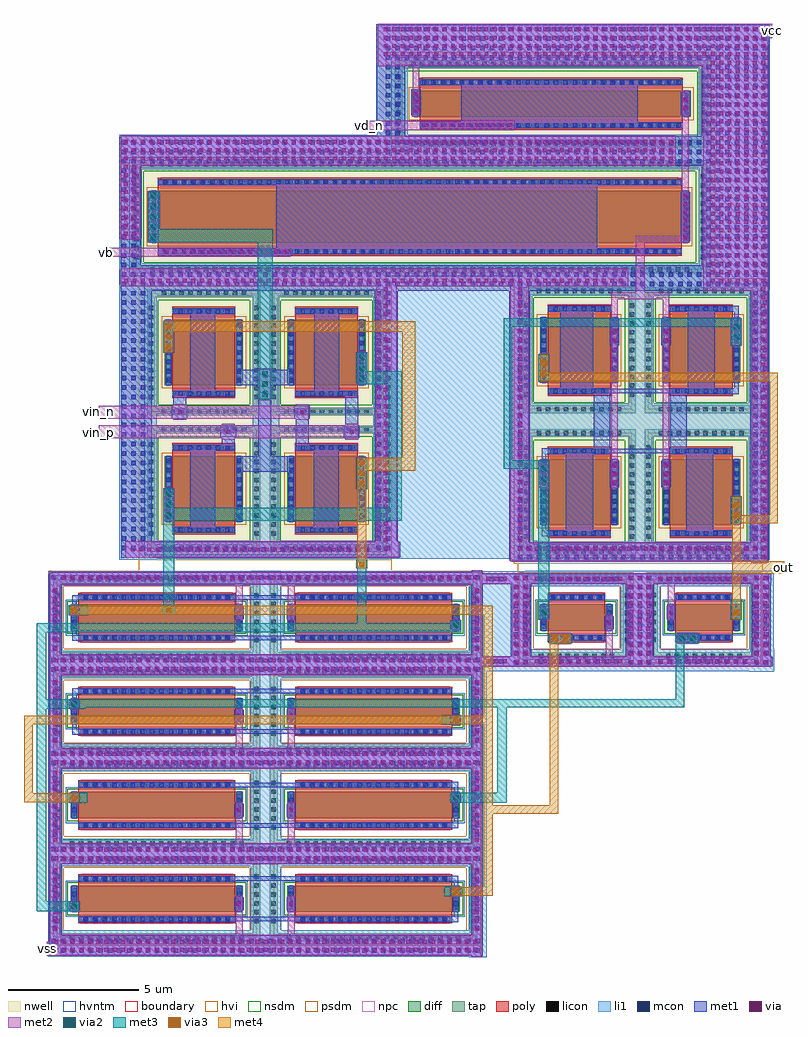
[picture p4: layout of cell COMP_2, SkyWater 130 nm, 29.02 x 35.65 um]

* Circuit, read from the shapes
.subckt COMP_2 out vb vcc vd_n vin_n vin_p vss
XM1 vss n1 n2 vss sky130_fd_pr__nfet_g5v0d10v5 w=1 l=6 m=2
XM2 vss n2 n1 vss sky130_fd_pr__nfet_g5v0d10v5 w=1 l=6 m=2
XM3 vss n2 n2 vss sky130_fd_pr__nfet_g5v0d10v5 w=1 l=6 m=2
XM4 vss n1 n1 vss sky130_fd_pr__nfet_g5v0d10v5 w=1 l=6 m=2
XM5 vss n1 n3 vss sky130_fd_pr__nfet_g5v0d10v5 w=1 l=2.2
XM6 out n2 vss vss sky130_fd_pr__nfet_g5v0d10v5 w=1 l=2.2
XM7 n4 vb n5 vcc sky130_fd_pr__pfet_g5v0d10v5 w=2 l=20
XM8 n5 vin_p n1 vcc sky130_fd_pr__pfet_g5v0d10v5 w=2.5 l=2.4 m=2
XM9 n5 vin_n n2 vcc sky130_fd_pr__pfet_g5v0d10v5 w=2.5 l=2.4 m=2
XM10 n4 vd_n vcc vcc sky130_fd_pr__pfet_g5v0d10v5 w=1 l=10.05
XM11 n4 n3 n3 vcc sky130_fd_pr__pfet_g5v0d10v5 w=2.5 l=2.4 m=2
XM12 n4 n3 out vcc sky130_fd_pr__pfet_g5v0d10v5 w=2.5 l=2.4 m=2
.ends

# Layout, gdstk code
from math import pi, radians
import gdstk
lib = gdstk.Library(unit=1e-6, precision=1e-09)
def R(c, l, rs):  # rectangles x0, y0, x1, y1
    for r in rs: c.add(gdstk.rectangle(r[:2], r[2:], *l))
def A(c, l, x, y, w, h, nx, ny, dx, dy):  # array of equal rectangles
    R(c, l, [(x+i*dx, y+j*dy, x+i*dx+w, y+j*dy+h) for i in range(nx) for j in range(ny)])
nwell = (64, 20)
diff = (65, 20)
tap = (65, 44)
poly = (66, 20)
licon = (66, 44)
li1 = (67, 20)
mcon = (67, 44)
met1 = (68, 20)
via = (68, 44)
met2 = (69, 20)
via2 = (69, 44)
met3 = (70, 20)
via3 = (70, 44)
met4 = (71, 20)
hvi = (75, 20)
nsdm = (93, 44)
psdm = (94, 20)
npc = (95, 20)
hvntm = (125, 20)
boundary = (235, 4)

sky130_fd_pr__nfet_g5v0d = lib.new_cell('sky130_fd_pr__nfet_g5v0d10v5_2VXPDW')
R(sky130_fd_pr__nfet_g5v0d, diff, [(-3.29,-0.5,3.29,0.5)])
R(sky130_fd_pr__nfet_g5v0d, tap, [(-3.96,-1.61,3.96,-1.32), (-3.96,-1.32,-3.67,1.32), (3.67,-1.32,3.96,1.32), (-3.96,1.32,3.96,1.61)])
R(sky130_fd_pr__nfet_g5v0d, poly, [(-3,-0.94,3,0.94)])
A(sky130_fd_pr__nfet_g5v0d, licon, -3.315, -1.55, 0.17, 0.17, 20, 2, 0.34, 2.93)
A(sky130_fd_pr__nfet_g5v0d, licon, -3.9, -0.935, 0.17, 0.17, 1, 6, 0, 0.34)
A(sky130_fd_pr__nfet_g5v0d, licon, 3.73, -0.935, 0.17, 0.17, 1, 6, 0, 0.34)
A(sky130_fd_pr__nfet_g5v0d, licon, -2.805, -0.86, 0.17, 0.17, 17, 2, 0.34, 1.55)
A(sky130_fd_pr__nfet_g5v0d, licon, -3.23, -0.425, 0.17, 0.17, 1, 3, 0, 0.34)
A(sky130_fd_pr__nfet_g5v0d, licon, 3.06, -0.425, 0.17, 0.17, 1, 3, 0, 0.34)
R(sky130_fd_pr__nfet_g5v0d, li1, [(-3.9,-1.55,3.9,-1.38), (-3.9,-1.38,-3.73,1.38), (3.73,-1.38,3.9,1.38), (-3,-0.86,3,-0.69), (-3.23,-0.52,-3.06,0.52), (3.06,-0.52,3.23,0.52), (-3,0.69,3,0.86), (-3.9,1.38,3.9,1.55)])
A(sky130_fd_pr__nfet_g5v0d, mcon, -2.785, -0.86, 0.17, 0.17, 16, 2, 0.36, 1.55)
R(sky130_fd_pr__nfet_g5v0d, mcon, [(-3.23,-0.265,-3.06,-0.095), (3.06,-0.265,3.23,-0.095), (-3.23,0.095,-3.06,0.265), (3.06,0.095,3.23,0.265)])
R(sky130_fd_pr__nfet_g5v0d, met1, [(-2.98,-0.89,2.98,-0.66), (-3.26,-0.5,-3.03,0.5), (3.03,-0.5,3.26,0.5), (-2.98,0.66,2.98,0.89)])
R(sky130_fd_pr__nfet_g5v0d, hvi, [(-4.145,-1.795,4.145,1.795)])
R(sky130_fd_pr__nfet_g5v0d, nsdm, [(-3.415,-0.625,3.415,0.625)])
R(sky130_fd_pr__nfet_g5v0d, psdm, [(-4.085,-1.735,4.085,-1.195), (-4.085,-1.195,-3.545,1.195), (3.545,-1.195,4.085,1.195), (-4.085,1.195,4.085,1.735)])
R(sky130_fd_pr__nfet_g5v0d, npc, [(-2.905,-0.96,2.905,-0.59), (-2.905,0.59,2.905,0.96)])
R(sky130_fd_pr__nfet_g5v0d, hvntm, [(-3.475,-0.685,3.475,0.685)])
R(sky130_fd_pr__nfet_g5v0d, boundary, [(-3.81,-1.46,3.81,1.46)])

c_sky130_fd_pr__nfet_g5v0d = lib.new_cell('sky130_fd_pr__nfet_g5v0d10v5_QW2VKE')
R(c_sky130_fd_pr__nfet_g5v0d, diff, [(-1.39,-0.5,1.39,0.5)])
R(c_sky130_fd_pr__nfet_g5v0d, tap, [(-2.06,-1.61,2.06,-1.32), (-2.06,-1.32,-1.77,1.32), (1.77,-1.32,2.06,1.32), (-2.06,1.32,2.06,1.61)])
R(c_sky130_fd_pr__nfet_g5v0d, poly, [(-1.1,-0.94,1.1,0.94)])
A(c_sky130_fd_pr__nfet_g5v0d, licon, -1.445, -1.55, 0.17, 0.17, 9, 2, 0.34, 2.93)
A(c_sky130_fd_pr__nfet_g5v0d, licon, -2, -0.935, 0.17, 0.17, 1, 6, 0, 0.34)
A(c_sky130_fd_pr__nfet_g5v0d, licon, 1.83, -0.935, 0.17, 0.17, 1, 6, 0, 0.34)
A(c_sky130_fd_pr__nfet_g5v0d, licon, -0.935, -0.86, 0.17, 0.17, 6, 2, 0.34, 1.55)
A(c_sky130_fd_pr__nfet_g5v0d, licon, -1.33, -0.425, 0.17, 0.17, 1, 3, 0, 0.34)
A(c_sky130_fd_pr__nfet_g5v0d, licon, 1.16, -0.425, 0.17, 0.17, 1, 3, 0, 0.34)
R(c_sky130_fd_pr__nfet_g5v0d, li1, [(-2,-1.55,2,-1.38), (-2,-1.38,-1.83,1.38), (1.83,-1.38,2,1.38), (-1.1,-0.86,1.1,-0.69), (-1.33,-0.52,-1.16,0.52), (1.16,-0.52,1.33,0.52), (-1.1,0.69,1.1,0.86), (-2,1.38,2,1.55)])
A(c_sky130_fd_pr__nfet_g5v0d, mcon, -0.985, -0.86, 0.17, 0.17, 6, 2, 0.36, 1.55)
R(c_sky130_fd_pr__nfet_g5v0d, mcon, [(-1.33,-0.265,-1.16,-0.095), (1.16,-0.265,1.33,-0.095), (-1.33,0.095,-1.16,0.265), (1.16,0.095,1.33,0.265)])
R(c_sky130_fd_pr__nfet_g5v0d, met1, [(-1.08,-0.89,1.08,-0.66), (-1.36,-0.5,-1.13,0.5), (1.13,-0.5,1.36,0.5), (-1.08,0.66,1.08,0.89)])
R(c_sky130_fd_pr__nfet_g5v0d, hvi, [(-2.245,-1.795,2.245,1.795)])
R(c_sky130_fd_pr__nfet_g5v0d, nsdm, [(-1.515,-0.625,1.515,0.625)])
R(c_sky130_fd_pr__nfet_g5v0d, psdm, [(-2.185,-1.735,2.185,-1.195), (-2.185,-1.195,-1.645,1.195), (1.645,-1.195,2.185,1.195), (-2.185,1.195,2.185,1.735)])
R(c_sky130_fd_pr__nfet_g5v0d, npc, [(-1.035,-0.96,1.035,-0.59), (-1.035,0.59,1.035,0.96)])
R(c_sky130_fd_pr__nfet_g5v0d, hvntm, [(-1.575,-0.685,1.575,0.685)])
R(c_sky130_fd_pr__nfet_g5v0d, boundary, [(-1.91,-1.46,1.91,1.46)])

sky130_fd_pr__pfet_g5v0d = lib.new_cell('sky130_fd_pr__pfet_g5v0d10v5_QVY3G8')
R(sky130_fd_pr__pfet_g5v0d, nwell, [(-2.49,-2.735,2.49,2.735)])
R(sky130_fd_pr__pfet_g5v0d, diff, [(-1.49,-1.25,1.49,1.25)])
R(sky130_fd_pr__pfet_g5v0d, tap, [(-2.16,-2.405,2.16,-2.115), (-2.16,-2.115,-1.87,2.115), (1.87,-2.115,2.16,2.115), (-2.16,2.115,2.16,2.405)])
R(sky130_fd_pr__pfet_g5v0d, poly, [(-1.2,-1.735,1.2,1.735)])
A(sky130_fd_pr__pfet_g5v0d, licon, -1.615, -2.345, 0.17, 0.17, 10, 2, 0.34, 4.52)
A(sky130_fd_pr__pfet_g5v0d, licon, -2.1, -1.785, 0.17, 0.17, 1, 11, 0, 0.34)
A(sky130_fd_pr__pfet_g5v0d, licon, 1.93, -1.785, 0.17, 0.17, 1, 11, 0, 0.34)
A(sky130_fd_pr__pfet_g5v0d, licon, -1.105, -1.655, 0.17, 0.17, 7, 2, 0.34, 3.14)
A(sky130_fd_pr__pfet_g5v0d, licon, -1.43, -1.105, 0.17, 0.17, 1, 7, 0, 0.34)
A(sky130_fd_pr__pfet_g5v0d, licon, 1.26, -1.105, 0.17, 0.17, 1, 7, 0, 0.34)
R(sky130_fd_pr__pfet_g5v0d, li1, [(-2.1,-2.345,2.1,-2.175), (-2.1,-2.175,-1.93,2.175), (1.93,-2.175,2.1,2.175), (-1.2,-1.655,1.2,-1.485), (-1.43,-1.27,-1.26,1.27), (1.26,-1.27,1.43,1.27), (-1.2,1.485,1.2,1.655), (-2.1,2.175,2.1,2.345)])
A(sky130_fd_pr__pfet_g5v0d, mcon, -0.985, -1.655, 0.17, 0.17, 6, 2, 0.36, 3.14)
A(sky130_fd_pr__pfet_g5v0d, mcon, -1.43, -1.165, 0.17, 0.17, 1, 7, 0, 0.36)
A(sky130_fd_pr__pfet_g5v0d, mcon, 1.26, -1.165, 0.17, 0.17, 1, 7, 0, 0.36)
R(sky130_fd_pr__pfet_g5v0d, met1, [(-1.18,-1.685,1.18,-1.455), (-1.46,-1.25,-1.23,1.25), (1.23,-1.25,1.46,1.25), (-1.18,1.455,1.18,1.685)])
R(sky130_fd_pr__pfet_g5v0d, hvi, [(-2.49,-2.735,2.49,2.735)])
R(sky130_fd_pr__pfet_g5v0d, nsdm, [(-2.285,-2.53,2.285,-1.99), (-2.285,-1.99,-1.745,1.99), (1.745,-1.99,2.285,1.99), (-2.285,1.99,2.285,2.53)])
R(sky130_fd_pr__pfet_g5v0d, psdm, [(-1.615,-1.375,1.615,1.375)])
R(sky130_fd_pr__pfet_g5v0d, npc, [(-1.205,-1.755,1.205,-1.385), (-1.205,1.385,1.205,1.755)])
R(sky130_fd_pr__pfet_g5v0d, boundary, [(-2.015,-2.26,2.015,2.26)])

c_sky130_fd_pr__pfet_g5v0d = lib.new_cell('sky130_fd_pr__pfet_g5v0d10v5_DLWBKT')
R(c_sky130_fd_pr__pfet_g5v0d, nwell, [(-11.29,-2.485,11.29,2.485)])
R(c_sky130_fd_pr__pfet_g5v0d, diff, [(-10.29,-1,10.29,1)])
R(c_sky130_fd_pr__pfet_g5v0d, tap, [(-10.96,-2.155,10.96,-1.865), (-10.96,-1.865,-10.67,1.865), (10.67,-1.865,10.96,1.865), (-10.96,1.865,10.96,2.155)])
R(c_sky130_fd_pr__pfet_g5v0d, poly, [(-10,-1.485,10,1.485)])
A(c_sky130_fd_pr__pfet_g5v0d, licon, -10.285, -2.095, 0.17, 0.17, 61, 2, 0.34, 4.02)
A(c_sky130_fd_pr__pfet_g5v0d, licon, -10.9, -1.615, 0.17, 0.17, 1, 10, 0, 0.34)
A(c_sky130_fd_pr__pfet_g5v0d, licon, 10.73, -1.615, 0.17, 0.17, 1, 10, 0, 0.34)
A(c_sky130_fd_pr__pfet_g5v0d, licon, -9.775, -1.405, 0.17, 0.17, 58, 2, 0.34, 2.64)
A(c_sky130_fd_pr__pfet_g5v0d, licon, -10.23, -0.935, 0.17, 0.17, 1, 6, 0, 0.34)
A(c_sky130_fd_pr__pfet_g5v0d, licon, 10.06, -0.935, 0.17, 0.17, 1, 6, 0, 0.34)
R(c_sky130_fd_pr__pfet_g5v0d, li1, [(-10.9,-2.095,10.9,-1.925), (-10.9,-1.925,-10.73,1.925), (10.73,-1.925,10.9,1.925), (-10,-1.405,10,-1.235), (-10.23,-1.02,-10.06,1.02), (10.06,-1.02,10.23,1.02), (-10,1.235,10,1.405), (-10.9,1.925,10.9,2.095)])
A(c_sky130_fd_pr__pfet_g5v0d, mcon, -9.805, -1.405, 0.17, 0.17, 55, 2, 0.36, 2.64)
A(c_sky130_fd_pr__pfet_g5v0d, mcon, -10.23, -0.805, 0.17, 0.17, 1, 5, 0, 0.36)
A(c_sky130_fd_pr__pfet_g5v0d, mcon, 10.06, -0.805, 0.17, 0.17, 1, 5, 0, 0.36)
R(c_sky130_fd_pr__pfet_g5v0d, met1, [(-9.98,-1.435,9.98,-1.205), (-10.26,-1,-10.03,1), (10.03,-1,10.26,1), (-9.98,1.205,9.98,1.435)])
R(c_sky130_fd_pr__pfet_g5v0d, hvi, [(-11.29,-2.485,11.29,2.485)])
R(c_sky130_fd_pr__pfet_g5v0d, nsdm, [(-11.085,-2.28,11.085,-1.74), (-11.085,-1.74,-10.545,1.74), (10.545,-1.74,11.085,1.74), (-11.085,1.74,11.085,2.28)])
R(c_sky130_fd_pr__pfet_g5v0d, psdm, [(-10.415,-1.125,10.415,1.125)])
R(c_sky130_fd_pr__pfet_g5v0d, npc, [(-9.875,-1.505,9.875,-1.135), (-9.875,1.135,9.875,1.505)])
R(c_sky130_fd_pr__pfet_g5v0d, boundary, [(-10.815,-2.01,10.815,2.01)])

c_sky130_fd_pr__pfet_g5v0d_ = lib.new_cell('sky130_fd_pr__pfet_g5v0d10v5_HGHSTJ')
R(c_sky130_fd_pr__pfet_g5v0d_, nwell, [(-6.315,-1.985,6.315,1.985)])
R(c_sky130_fd_pr__pfet_g5v0d_, diff, [(-5.315,-0.5,5.315,0.5)])
R(c_sky130_fd_pr__pfet_g5v0d_, tap, [(-5.985,-1.655,5.985,-1.365), (-5.985,-1.365,-5.695,1.365), (5.695,-1.365,5.985,1.365), (-5.985,1.365,5.985,1.655)])
R(c_sky130_fd_pr__pfet_g5v0d_, poly, [(-5.025,-0.985,5.025,0.985)])
A(c_sky130_fd_pr__pfet_g5v0d_, licon, -5.355, -1.595, 0.17, 0.17, 32, 2, 0.34, 3.02)
A(c_sky130_fd_pr__pfet_g5v0d_, licon, -5.925, -1.105, 0.17, 0.17, 1, 7, 0, 0.34)
A(c_sky130_fd_pr__pfet_g5v0d_, licon, 5.755, -1.105, 0.17, 0.17, 1, 7, 0, 0.34)
A(c_sky130_fd_pr__pfet_g5v0d_, licon, -4.845, -0.905, 0.17, 0.17, 29, 2, 0.34, 1.64)
A(c_sky130_fd_pr__pfet_g5v0d_, licon, -5.255, -0.425, 0.17, 0.17, 1, 3, 0, 0.34)
A(c_sky130_fd_pr__pfet_g5v0d_, licon, 5.085, -0.425, 0.17, 0.17, 1, 3, 0, 0.34)
R(c_sky130_fd_pr__pfet_g5v0d_, li1, [(-5.925,-1.595,5.925,-1.425), (-5.925,-1.425,-5.755,1.425), (5.755,-1.425,5.925,1.425), (-5.025,-0.905,5.025,-0.735), (-5.255,-0.52,-5.085,0.52), (5.085,-0.52,5.255,0.52), (-5.025,0.735,5.025,0.905), (-5.925,1.425,5.925,1.595)])
A(c_sky130_fd_pr__pfet_g5v0d_, mcon, -4.945, -0.905, 0.17, 0.17, 28, 2, 0.36, 1.64)
R(c_sky130_fd_pr__pfet_g5v0d_, mcon, [(-5.255,-0.265,-5.085,-0.095), (5.085,-0.265,5.255,-0.095), (-5.255,0.095,-5.085,0.265), (5.085,0.095,5.255,0.265)])
R(c_sky130_fd_pr__pfet_g5v0d_, met1, [(-5.005,-0.935,5.005,-0.705), (-5.285,-0.5,-5.055,0.5), (5.055,-0.5,5.285,0.5), (-5.005,0.705,5.005,0.935)])
R(c_sky130_fd_pr__pfet_g5v0d_, hvi, [(-6.315,-1.985,6.315,1.985)])
R(c_sky130_fd_pr__pfet_g5v0d_, nsdm, [(-6.11,-1.78,6.11,-1.24), (-6.11,-1.24,-5.57,1.24), (5.57,-1.24,6.11,1.24), (-6.11,1.24,6.11,1.78)])
R(c_sky130_fd_pr__pfet_g5v0d_, psdm, [(-5.44,-0.625,5.44,0.625)])
R(c_sky130_fd_pr__pfet_g5v0d_, npc, [(-4.945,-1.005,4.945,-0.635), (-4.945,0.635,4.945,1.005)])
R(c_sky130_fd_pr__pfet_g5v0d_, boundary, [(-5.84,-1.51,5.84,1.51)])

comp_2 = lib.new_cell('COMP_2')
R(comp_2, li1, [(70.005,-36.47,70.69,-36.45), (53.94,-36.45,70.69,-35.44), (53.94,-35.44,54.48,-32.99), (61.67,-35.44,62.83,-32.99), (70.005,-35.44,70.69,-32.99), (53.94,-32.99,70.69,-31.945), (53.94,-31.945,54.48,-29.37), (61.67,-31.945,62.83,-29.37), (70.005,-31.945,70.69,-29.37), (53.94,-29.37,70.69,-28.325), (53.94,-28.325,54.48,-25.815), (61.67,-28.325,62.83,-25.815), (70.005,-28.325,70.69,-25.815), (53.94,-25.815,70.69,-25.54), (80.715,-25.565,81.64,-25.54), (53.94,-25.54,81.66,-24.77), (53.94,-24.77,54.48,-22.28), (61.67,-24.77,62.83,-22.28), (70.005,-24.77,81.66,-24.705), (70.005,-24.705,72.365,-22.3), (75.8,-24.705,77.305,-22.3), (80.715,-24.705,81.64,-22.3), (70.005,-22.3,81.64,-22.28), (53.94,-22.28,81.64,-21.74), (61.67,-21.74,62.83,-21.72), (72.15,-21.74,81.64,-21.72), (80.805,-21.355,81.41,-21.31), (71.635,-21.31,81.41,-21.29), (71.59,-21.29,81.41,-21.285), (56.65,-21.285,58.075,-21.25), (71.59,-21.285,81.485,-21.25), (56.65,-21.25,81.485,-20.61), (56.65,-20.61,72.605,-20.575), (76.135,-20.61,77.055,-16.575), (80.695,-20.61,81.485,-16.575), (56.65,-20.575,58.075,-11.21), (61.745,-20.575,62.755,-11.21), (66.35,-20.575,72.42,-16.575), (66.35,-16.575,81.485,-15.315), (66.35,-15.315,72.42,-11.21), (76.135,-15.315,77.055,-11.21), (80.695,-15.315,81.485,-11.21), (56.65,-11.21,81.485,-9.975), (56.65,-9.975,57.51,-6.38), (78.785,-9.975,81.485,-6.38), (56.65,-6.38,81.485,-5.07), (66.465,-5.07,67.66,-2.485), (78.785,-5.07,81.485,-2.485), (66.465,-2.485,81.485,-0.95), (66.53,-0.95,81.485,-0.91), (66.53,-0.91,81.42,-0.875)])
A(comp_2, mcon, 54.055, -36.295, 0.17, 0.17, 46, 2, 0.36, 0.36)
A(comp_2, mcon, 54.12, -35.435, 0.17, 0.17, 1, 7, 0, 0.36)
A(comp_2, mcon, 70.225, -35.435, 0.17, 0.17, 1, 7, 0, 0.36)
A(comp_2, mcon, 54.055, -32.79, 0.17, 0.17, 46, 2, 0.36, 0.36)
A(comp_2, mcon, 54.12, -31.865, 0.17, 0.17, 1, 7, 0, 0.36)
A(comp_2, mcon, 70.225, -31.865, 0.17, 0.17, 1, 7, 0, 0.36)
A(comp_2, mcon, 54.055, -29.135, 0.17, 0.17, 46, 2, 0.36, 0.36)
A(comp_2, mcon, 54.12, -28.25, 0.17, 0.17, 1, 7, 0, 0.36)
A(comp_2, mcon, 70.225, -28.25, 0.17, 0.17, 1, 7, 0, 0.36)
A(comp_2, mcon, 54.055, -25.565, 0.17, 0.17, 46, 2, 0.36, 0.36)
A(comp_2, mcon, 71.725, -25.305, 0.17, 0.17, 1, 10, 0, 0.36)
A(comp_2, mcon, 72.085, -25.305, 0.17, 0.17, 1, 10, 0, 0.36)
A(comp_2, mcon, 76.085, -25.305, 0.17, 0.17, 3, 10, 0.36, 0.36)
A(comp_2, mcon, 80.9, -25.305, 0.17, 0.17, 1, 10, 0, 0.36)
A(comp_2, mcon, 81.26, -25.305, 0.17, 0.17, 1, 10, 0, 0.36)
A(comp_2, mcon, 72.665, -25.26, 0.17, 0.17, 9, 2, 0.36, 3.155)
A(comp_2, mcon, 77.23, -25.26, 0.17, 0.17, 10, 2, 0.36, 3.155)
A(comp_2, mcon, 54.12, -24.74, 0.17, 0.17, 1, 7, 0, 0.36)
A(comp_2, mcon, 70.225, -24.74, 0.17, 0.17, 1, 7, 0, 0.36)
A(comp_2, mcon, 54.055, -22.055, 0.17, 0.17, 46, 1, 0.36, 0)
A(comp_2, mcon, 71.87, -21.28, 0.17, 0.17, 27, 2, 0.36, 0.36)
A(comp_2, mcon, 58.115, -20.985, 0.17, 0.17, 23, 1, 0.36, 0)
A(comp_2, mcon, 56.75, -20.92, 0.17, 0.17, 3, 28, 0.36, 0.36)
A(comp_2, mcon, 66.47, -20.92, 0.17, 0.17, 1, 28, 0, 0.36)
A(comp_2, mcon, 66.83, -20.92, 0.17, 0.17, 1, 28, 0, 0.36)
A(comp_2, mcon, 71.87, -20.56, 0.17, 0.17, 1, 27, 0, 0.36)
A(comp_2, mcon, 80.87, -20.56, 0.17, 0.17, 1, 27, 0, 0.36)
A(comp_2, mcon, 81.23, -20.56, 0.17, 0.17, 1, 27, 0, 0.36)
A(comp_2, mcon, 56.75, -10.84, 0.17, 0.17, 69, 2, 0.36, 0.36)
A(comp_2, mcon, 56.75, -10.12, 0.17, 0.17, 1, 11, 0, 0.36)
A(comp_2, mcon, 57.11, -10.12, 0.17, 0.17, 1, 11, 0, 0.36)
A(comp_2, mcon, 79.07, -10.12, 0.17, 0.17, 7, 11, 0.36, 0.36)
A(comp_2, mcon, 56.75, -6.16, 0.17, 0.17, 69, 3, 0.36, 0.36)
A(comp_2, mcon, 66.83, -5.08, 0.17, 0.17, 1, 8, 0, 0.36)
A(comp_2, mcon, 67.19, -5.08, 0.17, 0.17, 1, 8, 0, 0.36)
A(comp_2, mcon, 79.07, -5.08, 0.17, 0.17, 7, 8, 0.36, 0.36)
A(comp_2, mcon, 66.83, -2.2, 0.17, 0.17, 41, 4, 0.36, 0.36)
R(comp_2, mcon, [(70.795,-25.26,70.965,-25.09), (71.155,-25.26,71.325,-25.09), (70.795,-22.105,70.965,-21.935), (71.155,-22.105,71.325,-21.935)])
A(comp_2, met1, 61.05, -34.68, 0.36, 0.5, 1, 3, 0, 3.58)
A(comp_2, met1, 63.04, -34.68, 0.36, 0.5, 1, 3, 0, 3.58)
A(comp_2, met1, 54.73, -30.54, 0.42, 0.32, 1, 3, 0, 3.58)
R(comp_2, met1, [(70.115,-36.455,70.505,-36.395), (53.975,-36.405,54.435,-36.39), (70.095,-36.395,70.525,-36.39), (53.975,-36.39,70.525,-36.345), (53.955,-36.345,70.525,-35.63), (53.955,-35.63,54.455,-32.905), (70.095,-35.63,70.525,-32.905), (69.315,-35.13,69.595,-34.9), (61.04,-35.1,63.445,-34.93), (69.425,-34.9,69.595,-34.735), (54.73,-34.68,55.15,-34.36), (69.3,-34.12,69.72,-33.8), (69.425,-33.79,69.595,-33.58), (69.32,-33.58,69.595,-33.35), (61.05,-33.55,63.455,-33.38), (53.955,-32.905,70.525,-32.145), (53.955,-32.145,54.455,-29.25), (70.095,-32.145,70.525,-29.25), (69.3,-31.55,69.595,-31.32), (60.99,-31.52,63.43,-31.35), (69.425,-31.32,69.595,-31.15), (69.3,-30.54,69.72,-30.22), (69.425,-30.2,69.595,-30), (69.28,-30,69.595,-29.77), (61.03,-29.97,63.47,-29.8), (53.955,-29.25,70.525,-28.49), (53.955,-28.49,54.455,-25.68), (70.095,-28.49,70.525,-25.68), (54.855,-27.97,55.155,-27.74), (61.06,-27.94,63.5,-27.77), (54.855,-27.74,55.025,-27.56), (69.3,-27.575,69.72,-27.255), (54.855,-26.64,55.025,-26.42), (54.855,-26.42,55.16,-26.19), (61.06,-26.39,63.5,-26.22), (53.955,-25.68,70.525,-25.36), (53.955,-25.36,81.6,-24.99), (53.955,-24.99,70.525,-24.92), (71.6,-24.99,72.385,-22.205), (76,-24.99,77.065,-22.205), (80.805,-24.99,81.53,-22.205), (53.955,-24.92,54.455,-22.225), (70.095,-24.92,70.525,-22.225), (73.045,-24.46,73.945,-24.14), (77.905,-24.45,78.805,-24.13), (54.85,-24.39,55.17,-24.16), (61.05,-24.36,63.51,-24.19), (54.85,-24.16,55.025,-23.995), (69.3,-23.94,69.72,-23.62), (75.18,-23.94,75.54,-23.44), (61.05,-23.56,61.41,-23.06), (63.04,-23.56,63.4,-23.06), (72.66,-23.56,73.08,-23.06), (77.55,-23.555,77.91,-23.055), (80.01,-23.555,80.43,-23.055), (54.855,-23.045,55.025,-22.84), (54.855,-22.84,55.18,-22.795), (61.005,-22.81,63.465,-22.64), (54.855,-22.795,55.145,-22.64), (53.955,-22.225,70.525,-22.205), (53.955,-22.205,81.54,-21.845), (53.975,-21.845,81.54,-21.835), (53.975,-21.835,70.525,-21.785), (54.06,-21.785,70.525,-21.765), (70.095,-21.765,70.525,-21.745), (70.115,-21.745,70.505,-21.685), (80.775,-21.415,81.44,-21.355), (80.755,-21.355,81.46,-21.34), (71.56,-21.35,72.31,-21.34), (71.56,-21.34,81.46,-21.29), (71.54,-21.29,81.46,-20.65), (56.72,-21.22,57.885,-21.19), (56.72,-21.19,67.39,-20.61), (71.54,-20.65,72.33,-11.02), (80.755,-20.65,81.46,-11.025), (56.72,-20.61,57.885,-11.05), (66.415,-20.61,67.29,-11.02), (72.785,-20.395,73.15,-20.165), (78.295,-20.27,79.335,-17.19), (73.71,-20.25,74.75,-17.095), (72.785,-20.165,72.955,-19.935), (59.36,-20.145,60.32,-17.025), (64.07,-20.12,65.03,-17), (80.01,-19.9,80.43,-18.9), (58.33,-19.775,58.75,-18.595), (65.7,-18.57,66.12,-17.395), (72.66,-18.52,73.08,-17.52), (75.38,-18.52,75.74,-17.52), (77.35,-18.52,77.71,-17.52), (61.315,-17.925,63.185,-17.335), (72.785,-17.475,72.955,-17.255), (61.96,-17.335,62.46,-15.145), (72.785,-17.255,73.11,-17.025), (75.365,-17.225,77.765,-17.19), (75.365,-17.19,79.335,-17.145), (74.77,-17.145,79.335,-17.115), (74.77,-17.115,78.32,-17.055), (74.77,-17.055,75.395,-14.94), (77.695,-17.055,78.32,-14.94), (63.385,-17.03,63.885,-15.905), (60.565,-16.9,61.065,-16.655), (60.515,-16.655,61.115,-16.155), (65.225,-16.655,65.825,-16.155), (65.275,-16.155,65.775,-15.03), (58.655,-15.905,59.255,-15.405), (63.335,-15.905,63.935,-15.405), (58.705,-15.405,59.205,-15.055), (61.94,-15.145,62.505,-14.625), (64.095,-14.98,65.055,-11.86), (80,-14.97,80.305,-14.74), (74.77,-14.94,78.32,-14.785), (59.36,-14.925,60.32,-11.805), (73.495,-14.865,74.75,-11.66), (78.36,-14.84,79.4,-11.685), (74.77,-14.785,77.8,-14.77), (74.77,-14.77,75.395,-14.74), (80.135,-14.74,80.305,-14.515), (61.29,-14.625,63.16,-14.035), (65.7,-14.565,66.12,-13.385), (72.66,-14.475,73.08,-13.475), (61.94,-14.035,62.505,-14.025), (58.33,-13.36,58.75,-12.185), (75.38,-13.095,75.74,-12.095), (77.35,-13.095,77.71,-12.095), (80.01,-13.095,80.43,-12.095), (80.135,-12.04,80.305,-11.83), (80.015,-11.83,80.305,-11.6), (56.7,-11.05,57.885,-11.02), (78.92,-11.025,81.46,-11.02), (56.7,-11.02,81.46,-10.965), (56.7,-10.965,81.475,-10.795), (56.68,-10.795,81.475,-10.215), (56.7,-10.215,81.475,-10.055), (56.7,-10.055,57.475,-9.025), (78.9,-10.055,81.475,-6.24), (58.155,-9.68,63.255,-9.54), (58.155,-9.54,74.9,-9.42), (62.655,-9.42,74.9,-6.815), (57.77,-9.135,58.16,-7.255), (78.09,-9.135,78.45,-7.255), (56.66,-9.025,57.495,-6.24), (56.66,-6.24,81.475,-5.15), (56.7,-5.15,81.475,-5.12), (56.7,-5.12,57.475,-5.09), (66.48,-5.12,67.555,-2.43), (78.9,-5.12,81.475,-2.43), (68.155,-4.835,71.8,-4.74), (68.155,-4.74,76.455,-4.575), (69.71,-4.575,76.455,-3.055), (67.8,-4.32,68.16,-3.32), (78.09,-4.32,78.45,-3.44), (66.47,-2.43,81.48,-0.845)])
A(comp_2, via, 54.165, -36.265, 0.15, 0.15, 51, 2, 0.32, 0.32)
A(comp_2, via, 54.13, -35.465, 0.15, 0.15, 1, 8, 0, 0.32)
A(comp_2, via, 70.235, -35.465, 0.15, 0.15, 1, 8, 0, 0.32)
A(comp_2, via, 61.155, -34.505, 0.15, 0.15, 1, 3, 0, 3.58)
A(comp_2, via, 63.145, -34.505, 0.15, 0.15, 1, 3, 0, 3.58)
A(comp_2, via, 54.165, -32.76, 0.15, 0.15, 51, 2, 0.32, 0.32)
A(comp_2, via, 54.13, -32.055, 0.15, 0.15, 1, 9, 0, 0.32)
A(comp_2, via, 70.235, -32.055, 0.15, 0.15, 1, 9, 0, 0.32)
A(comp_2, via, 54.865, -30.455, 0.15, 0.15, 1, 3, 0, 3.58)
A(comp_2, via, 54.165, -29.105, 0.15, 0.15, 51, 2, 0.32, 0.32)
A(comp_2, via, 54.13, -28.28, 0.15, 0.15, 1, 8, 0, 0.32)
A(comp_2, via, 70.235, -28.28, 0.15, 0.15, 1, 8, 0, 0.32)
A(comp_2, via, 54.165, -25.535, 0.15, 0.15, 51, 2, 0.32, 0.32)
A(comp_2, via, 71.755, -25.275, 0.15, 0.15, 1, 11, 0, 0.32)
A(comp_2, via, 72.075, -25.275, 0.15, 0.15, 1, 11, 0, 0.32)
A(comp_2, via, 76.135, -25.275, 0.15, 0.15, 3, 11, 0.32, 0.32)
A(comp_2, via, 80.93, -25.275, 0.15, 0.15, 1, 11, 0, 0.32)
A(comp_2, via, 81.25, -25.275, 0.15, 0.15, 1, 11, 0, 0.32)
A(comp_2, via, 70.665, -25.25, 0.15, 0.15, 3, 2, 0.32, 3.155)
A(comp_2, via, 72.515, -25.25, 0.15, 0.15, 11, 2, 0.32, 3.155)
A(comp_2, via, 77.26, -25.25, 0.15, 0.15, 11, 2, 0.32, 3.155)
A(comp_2, via, 54.13, -24.77, 0.15, 0.15, 1, 8, 0, 0.32)
A(comp_2, via, 70.235, -24.77, 0.15, 0.15, 1, 8, 0, 0.32)
A(comp_2, via, 54.485, -22.045, 0.15, 0.15, 50, 1, 0.32, 0)
A(comp_2, via, 57.085, -20.975, 0.15, 0.15, 29, 1, 0.32, 0)
A(comp_2, via, 66.76, -20.95, 0.15, 0.15, 1, 32, 0, 0.32)
A(comp_2, via, 71.88, -20.95, 0.15, 0.15, 30, 1, 0.32, 0)
A(comp_2, via, 71.88, -20.63, 0.15, 0.15, 1, 31, 0, 0.32)
A(comp_2, via, 81.16, -20.63, 0.15, 0.15, 1, 31, 0, 0.32)
A(comp_2, via, 80.145, -19.795, 0.15, 0.15, 1, 3, 0, 0.32)
A(comp_2, via, 58.465, -19.58, 0.15, 0.15, 1, 3, 0, 0.32)
A(comp_2, via, 72.795, -18.415, 0.15, 0.15, 1, 3, 0, 0.32)
A(comp_2, via, 75.485, -18.415, 0.15, 0.15, 1, 3, 0, 0.32)
A(comp_2, via, 77.455, -18.415, 0.15, 0.15, 1, 3, 0, 0.32)
A(comp_2, via, 65.835, -18.38, 0.15, 0.15, 1, 3, 0, 0.32)
A(comp_2, via, 62.145, -14.98, 0.15, 0.15, 1, 3, 0, 0.32)
A(comp_2, via, 65.835, -14.37, 0.15, 0.15, 1, 3, 0, 0.32)
A(comp_2, via, 72.795, -14.37, 0.15, 0.15, 1, 3, 0, 0.32)
A(comp_2, via, 58.465, -13.17, 0.15, 0.15, 1, 3, 0, 0.32)
A(comp_2, via, 75.485, -12.99, 0.15, 0.15, 1, 3, 0, 0.32)
A(comp_2, via, 77.455, -12.99, 0.15, 0.15, 1, 3, 0, 0.32)
A(comp_2, via, 80.145, -12.99, 0.15, 0.15, 1, 3, 0, 0.32)
A(comp_2, via, 56.84, -10.71, 0.15, 0.15, 60, 1, 0.32, 0)
A(comp_2, via, 79.24, -10.71, 0.15, 0.15, 7, 27, 0.32, 0.32)
A(comp_2, via, 58.39, -9.625, 0.15, 0.15, 15, 1, 0.32, 0)
A(comp_2, via, 57.89, -9.07, 0.15, 0.15, 1, 6, 0, 0.32)
A(comp_2, via, 78.195, -9.07, 0.15, 0.15, 1, 6, 0, 0.32)
A(comp_2, via, 56.83, -8.925, 0.15, 0.15, 1, 9, 0, 0.32)
A(comp_2, via, 57.15, -8.925, 0.15, 0.15, 1, 9, 0, 0.32)
A(comp_2, via, 56.83, -6.045, 0.15, 0.15, 66, 3, 0.32, 0.32)
A(comp_2, via, 68.3, -4.78, 0.15, 0.15, 11, 1, 0.32, 0)
A(comp_2, via, 67.905, -4.215, 0.15, 0.15, 1, 3, 0, 0.32)
A(comp_2, via, 66.76, -2.07, 0.15, 0.15, 46, 4, 0.32, 0.32)
R(comp_2, via, [(54.865,-34.595,55.015,-34.445), (69.435,-34.035,69.585,-33.885), (69.435,-30.455,69.585,-30.305), (69.435,-27.49,69.585,-27.34), (73.26,-24.375,73.41,-24.225), (73.58,-24.375,73.73,-24.225), (78.12,-24.365,78.27,-24.215), (78.44,-24.365,78.59,-24.215), (69.435,-23.855,69.585,-23.705), (75.285,-23.765,75.435,-23.615), (61.155,-23.385,61.305,-23.235), (63.145,-23.385,63.295,-23.235), (72.795,-23.385,72.945,-23.235), (77.655,-23.38,77.805,-23.23), (80.145,-23.38,80.295,-23.23), (81.16,-21.27,81.31,-21.12), (60.74,-16.48,60.89,-16.33), (65.45,-16.48,65.6,-16.33), (58.88,-15.73,59.03,-15.58), (63.56,-15.73,63.71,-15.58), (78.195,-4.115,78.345,-3.965), (78.195,-3.795,78.345,-3.645)])
A(comp_2, met2, 54.78, -30.59, 0.32, 0.42, 1, 3, 0, 3.58)
R(comp_2, met2, [(70.145,-36.445,70.475,-36.41), (53.89,-36.41,70.475,-35.87), (54.005,-35.87,70.475,-35.61), (54.005,-35.61,54.405,-32.925), (61.1,-35.61,61.36,-34.13), (63.09,-35.61,63.35,-34.13), (70.145,-35.61,70.475,-32.925), (54.78,-34.73,55.1,-34.31), (69.35,-34.17,69.67,-33.75), (54.005,-32.925,70.475,-32.125), (54.005,-32.125,54.405,-29.27), (61.1,-32.125,61.36,-30.55), (63.09,-32.125,63.35,-30.55), (70.145,-32.125,70.475,-29.27), (69.35,-30.59,69.67,-30.17), (54.005,-29.27,70.475,-28.47), (54.005,-28.47,54.405,-25.7), (61.1,-28.47,61.36,-26.97), (63.09,-28.47,63.35,-26.97), (70.145,-28.47,70.475,-25.7), (69.35,-27.625,69.67,-27.205), (54.005,-25.7,70.475,-25.38), (54.005,-25.38,81.54,-24.97), (54.005,-24.97,70.475,-24.9), (71.65,-24.97,72.335,-22.225), (75.23,-24.97,75.49,-23.39), (76.05,-24.97,77.015,-22.225), (80.855,-24.97,81.48,-22.225), (54.005,-24.9,54.405,-22.245), (70.145,-24.9,70.475,-22.245), (73.095,-24.51,73.895,-24.09), (77.955,-24.5,78.755,-24.08), (69.35,-23.99,69.67,-23.57), (61.1,-23.61,61.36,-22.245), (63.09,-23.61,63.35,-22.245), (72.71,-23.61,73.03,-23.01), (77.6,-23.605,77.86,-22.225), (80.06,-23.605,80.38,-23.005), (54.005,-22.245,70.475,-22.225), (54.005,-22.225,81.48,-21.815), (54.005,-21.815,70.475,-21.795), (54.12,-21.795,70.475,-21.745), (70.145,-21.745,70.475,-21.695), (80.805,-21.405,81.41,-21.36), (71.635,-21.36,81.41,-21.34), (71.59,-21.34,81.41,-20.63), (56.88,-21.21,67.33,-20.59), (71.59,-20.63,72.28,-10.845), (80.805,-20.63,81.41,-11.015), (66.465,-20.59,67.24,-10.845), (80.06,-19.95,80.38,-18.85), (58.38,-19.825,58.7,-18.545), (65.75,-18.62,66.07,-17.345), (72.71,-18.57,73.03,-17.47), (75.43,-18.57,75.69,-11.345), (77.4,-18.57,77.66,-11.345), (60.565,-16.705,61.065,-16.655), (65.275,-16.705,65.775,-16.655), (55.865,-16.655,65.775,-16.155), (60.565,-16.155,61.065,-16.105), (65.275,-16.155,65.775,-16.105), (58.705,-15.955,59.205,-15.905), (63.385,-15.955,63.885,-15.905), (55.865,-15.905,63.885,-15.405), (58.705,-15.405,59.205,-15.355), (63.385,-15.405,63.885,-15.355), (61.99,-15.195,62.455,-13.975), (65.75,-14.615,66.07,-13.335), (72.71,-14.525,73.03,-13.425), (58.38,-13.415,58.7,-12.135), (80.06,-13.145,80.38,-12.045), (75.43,-11.345,77.66,-11.085), (76.38,-11.085,76.71,-9.185), (78.95,-11.015,81.425,-2.45), (56.73,-10.845,76.09,-10.165), (56.155,-9.73,63.205,-9.37), (57.785,-9.185,58.14,-7.205), (76.38,-9.185,78.4,-8.925), (56.71,-9.075,57.445,-6.24), (78.14,-8.925,78.4,-3.39), (56.71,-6.24,77.905,-5.1), (66.2,-4.885,71.75,-4.525), (67.85,-4.37,68.11,-2.45), (66.53,-2.45,81.425,-1.63), (66.53,-1.63,81.42,-1.375), (66.53,-1.375,81.595,-0.825)])
A(comp_2, via2, 54.84, -30.48, 0.2, 0.2, 1, 3, 0, 3.58)
A(comp_2, via2, 58.44, -19.685, 0.2, 0.2, 1, 3, 0, 0.4)
A(comp_2, via2, 65.81, -18.485, 0.2, 0.2, 1, 3, 0, 0.4)
A(comp_2, via2, 62.12, -15.085, 0.2, 0.2, 1, 3, 0, 0.4)
A(comp_2, via2, 65.81, -14.475, 0.2, 0.2, 1, 3, 0, 0.4)
A(comp_2, via2, 58.44, -13.275, 0.2, 0.2, 1, 3, 0, 0.4)
A(comp_2, via2, 57.86, -9.095, 0.2, 0.2, 1, 5, 0, 0.4)
R(comp_2, via2, [(54.84,-34.62,55.04,-34.42), (69.41,-34.06,69.61,-33.86), (69.41,-30.48,69.61,-30.28), (69.41,-27.515,69.61,-27.315), (73.195,-24.4,73.395,-24.2), (73.595,-24.4,73.795,-24.2), (78.055,-24.39,78.255,-24.19), (78.455,-24.39,78.655,-24.19), (69.41,-23.88,69.61,-23.68), (72.77,-23.41,72.97,-23.21), (80.12,-23.405,80.32,-23.205), (80.12,-19.7,80.32,-19.5), (80.12,-19.3,80.32,-19.1), (72.77,-18.32,72.97,-18.12), (72.77,-17.92,72.97,-17.72), (72.77,-14.275,72.97,-14.075), (72.77,-13.875,72.97,-13.675), (80.12,-12.895,80.32,-12.695), (80.12,-12.495,80.32,-12.295)])
R(comp_2, met3, [(53.495,-34.705,55.15,-34.335), (53.495,-34.335,53.865,-26.985), (69.06,-34.145,69.745,-33.775), (54.73,-30.565,55.43,-30.195), (69.3,-30.565,71.45,-30.195), (71.08,-30.195,71.45,-26.93), (68.97,-27.6,69.72,-27.23), (53.495,-26.985,55.36,-26.93), (53.495,-26.93,78.225,-26.615), (53.495,-26.615,53.865,-24.065), (71.065,-26.615,78.225,-26.61), (77.905,-26.61,78.225,-24.475), (73.045,-24.485,73.945,-24.115), (77.905,-24.475,78.805,-24.105), (53.495,-24.065,69.72,-23.72), (65.745,-23.72,66.075,-21.62), (69.3,-23.72,69.72,-23.595), (72.66,-23.585,73.08,-17.815), (80.01,-23.58,80.43,-22.795), (54.725,-23.405,55.465,-23.035), (58.285,-23.385,58.8,-23.055), (58.33,-23.055,58.75,-19.8), (65.695,-21.62,66.125,-21.3), (80.01,-19.925,80.43,-18.875), (58.33,-19.8,67.435,-19.3), (58.33,-19.3,58.75,-18.57), (66.935,-19.3,67.435,-14.59), (65.7,-18.595,66.12,-17.37), (71.335,-17.815,73.08,-17.495), (71.335,-17.495,71.655,-12.39), (61.94,-15.17,62.505,-9.165), (65.7,-14.59,67.435,-14.09), (72.66,-14.5,73.08,-13.45), (65.7,-14.09,66.12,-13.36), (58.33,-13.39,58.75,-12.16), (80.01,-13.12,80.43,-12.39), (71.335,-12.39,80.43,-12.07), (57.745,-9.165,62.505,-9.16), (57.735,-9.16,62.505,-8.665), (57.735,-8.665,58.19,-7.23)])
A(comp_2, via3, 65.81, -18.485, 0.2, 0.2, 1, 3, 0, 0.4)
A(comp_2, via3, 58.44, -13.275, 0.2, 0.2, 1, 3, 0, 0.4)
R(comp_2, via3, [(69.41,-34.06,69.61,-33.86), (54.84,-30.48,55.04,-30.28), (69.41,-27.515,69.61,-27.315), (73.195,-24.4,73.395,-24.2), (73.595,-24.4,73.795,-24.2), (80.12,-23.405,80.32,-23.205), (54.84,-23.32,55.04,-23.12), (58.44,-23.32,58.64,-23.12), (65.81,-21.56,66.01,-21.36), (80.12,-19.7,80.32,-19.5), (80.12,-19.3,80.32,-19.1), (72.77,-14.275,72.97,-14.075), (72.77,-13.875,72.97,-13.675)])
R(comp_2, met4, [(69.34,-34.125,70.905,-33.795), (70.575,-33.795,70.905,-30.995), (70.575,-30.995,73.41,-30.675), (70.575,-30.675,70.905,-27.58), (73.09,-30.675,73.41,-24.465), (53.015,-30.545,55.105,-30.215), (53.015,-30.215,53.345,-27.58), (53.015,-27.58,70.905,-27.25), (70.575,-27.25,70.905,-23.385), (73.09,-24.465,73.9,-24.135), (80.055,-23.56,80.385,-21.825), (58.33,-23.39,58.755,-23.385), (54.775,-23.385,70.905,-23.055), (58.33,-23.055,58.755,-23.05), (80.055,-21.825,82.035,-21.35), (65.74,-21.625,66.08,-21.295), (80.055,-21.35,80.385,-19.905), (65.745,-21.295,66.075,-17.89), (80.055,-19.905,81.805,-19.585), (80.055,-19.585,80.385,-18.895), (81.485,-19.585,81.805,-14.48), (65.745,-17.89,67.95,-17.39), (67.45,-17.39,67.95,-12.58), (72.705,-14.48,81.805,-14.16), (72.705,-14.16,73.035,-13.47), (58.375,-13.365,58.705,-12.58), (58.375,-12.58,67.95,-12.18)])
R(comp_2, hvi, [(76.36,-25.29,76.73,-21.705), (57.395,-21.705,67.055,-21.32), (71.87,-21.705,76.73,-21.7), (71.87,-21.7,81.22,-21.445)])
R(comp_2, nsdm, [(76.5,-21.24,76.59,-16.18), (62.17,-21.115,62.28,-16.055), (71.93,-16.18,81.16,-15.815), (57.6,-16.055,66.85,-15.905), (62.17,-15.905,62.28,-10.845), (76.5,-15.815,76.59,-10.755), (57.6,-10.845,66.85,-10.475), (71.93,-10.755,79.21,-10.475), (67.04,-5.915,79.21,-5.66)])
A(comp_2, psdm, 62.17, -35.975, 0.11, 3.47, 1, 4, 0, 3.58)
A(comp_2, psdm, 54, -32.505, 16.45, 0.11, 1, 3, 0, 3.58)
comp_2.add(gdstk.Reference(sky130_fd_pr__nfet_g5v0d, (66.365,-30.66)))
comp_2.add(gdstk.Reference(sky130_fd_pr__nfet_g5v0d, (58.085,-30.66)))
comp_2.add(gdstk.Reference(sky130_fd_pr__nfet_g5v0d, (66.365,-34.24)))
comp_2.add(gdstk.Reference(sky130_fd_pr__nfet_g5v0d, (58.085,-34.24)))
comp_2.add(gdstk.Reference(sky130_fd_pr__nfet_g5v0d, (58.085,-23.5)))
comp_2.add(gdstk.Reference(sky130_fd_pr__nfet_g5v0d, (66.365,-23.5)))
comp_2.add(gdstk.Reference(sky130_fd_pr__nfet_g5v0d, (58.085,-27.08)))
comp_2.add(gdstk.Reference(sky130_fd_pr__nfet_g5v0d, (66.365,-27.08)))
comp_2.add(gdstk.Reference(c_sky130_fd_pr__nfet_g5v0d, (78.975,-23.495), rotation=pi))
comp_2.add(gdstk.Reference(c_sky130_fd_pr__nfet_g5v0d, (74.115,-23.5), rotation=pi))
comp_2.add(gdstk.Reference(sky130_fd_pr__pfet_g5v0d, (59.885,-18.585)))
comp_2.add(gdstk.Reference(sky130_fd_pr__pfet_g5v0d, (64.565,-18.585)))
comp_2.add(gdstk.Reference(sky130_fd_pr__pfet_g5v0d, (74.215,-18.71), rotation=pi))
comp_2.add(gdstk.Reference(sky130_fd_pr__pfet_g5v0d, (78.875,-18.71), rotation=pi))
comp_2.add(gdstk.Reference(sky130_fd_pr__pfet_g5v0d, (59.885,-13.375)))
comp_2.add(gdstk.Reference(sky130_fd_pr__pfet_g5v0d, (64.565,-13.375)))
comp_2.add(gdstk.Reference(sky130_fd_pr__pfet_g5v0d, (78.875,-13.285), rotation=pi))
comp_2.add(gdstk.Reference(sky130_fd_pr__pfet_g5v0d, (74.215,-13.285), rotation=pi))
comp_2.add(gdstk.Reference(c_sky130_fd_pr__pfet_g5v0d, (68.125,-8.195)))
comp_2.add(gdstk.Reference(c_sky130_fd_pr__pfet_g5v0d_, (73.15,-3.88)))
comp_2.add(gdstk.Label('vcc', (81.59,-1.1), layer=69, texttype=5))
comp_2.add(gdstk.Label('vss', (53.895,-36.15), layer=69, texttype=5))
comp_2.add(gdstk.Label('vin_p', (55.87,-16.435), layer=69, texttype=5))
comp_2.add(gdstk.Label('out', (82.03,-21.59), layer=71, texttype=5))
comp_2.add(gdstk.Label('vin_n', (55.87,-15.65), layer=69, texttype=5))
comp_2.add(gdstk.Label('vb', (56.16,-9.55), layer=69, texttype=5))
comp_2.add(gdstk.Label('vd_n', (66.205,-4.705), layer=69, texttype=5))

lib.write_gds('COMP_2.gds')
